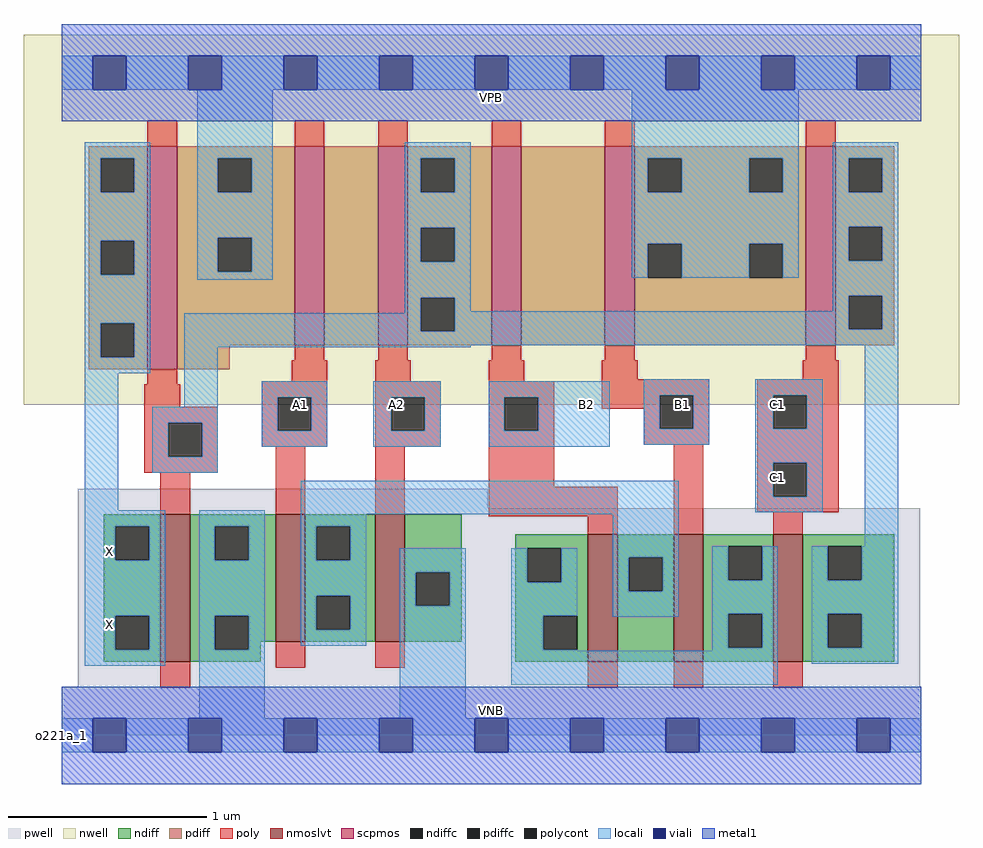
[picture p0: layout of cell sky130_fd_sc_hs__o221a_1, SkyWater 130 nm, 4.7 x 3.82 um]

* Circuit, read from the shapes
.subckt sky130_fd_sc_hs__o221a_1 A1 A2 B1 B2 C1 VGND VNB VPB VPWR X
XM1 VGND n1 X VNB sky130_fd_pr__nfet_01v8_lvt w=0.74 l=0.15
XM2 n2 A1 VGND VNB sky130_fd_pr__nfet_01v8_lvt w=0.64 l=0.15
XM3 VGND A2 n2 VNB sky130_fd_pr__nfet_01v8_lvt w=0.64 l=0.15
XM4 n2 B2 n3 VNB sky130_fd_pr__nfet_01v8_lvt w=0.64 l=0.15
XM5 n3 B1 n2 VNB sky130_fd_pr__nfet_01v8_lvt w=0.64 l=0.15
XM6 n1 C1 n3 VNB sky130_fd_pr__nfet_01v8_lvt w=0.64 l=0.15
XM7 VPWR n1 X VPB sky130_fd_pr__pfet_01v8 w=1.12 l=0.15
XM8 n4 A1 VPWR VPB sky130_fd_pr__pfet_01v8 w=1 l=0.15
XM9 n1 A2 n4 VPB sky130_fd_pr__pfet_01v8 w=1 l=0.15
XM10 n5 B2 n1 VPB sky130_fd_pr__pfet_01v8 w=1 l=0.15
XM11 VPWR B1 n5 VPB sky130_fd_pr__pfet_01v8 w=1 l=0.15
XM12 n1 C1 VPWR VPB sky130_fd_pr__pfet_01v8 w=1 l=0.15
.ends

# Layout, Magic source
magic
tech sky130A
magscale 1 2
<< nwell >>
rect -38 332 902 704
<< pwell >>
rect 16 228 428 248
rect 16 49 863 228
rect 0 0 864 49
<< scpmos >>
rect 86 368 116 592
rect 234 392 264 592
rect 318 392 348 592
rect 432 392 462 592
rect 546 392 576 592
rect 748 392 778 592
<< nmoslvt >>
rect 99 74 129 222
rect 215 94 245 222
rect 315 94 345 222
rect 529 74 559 202
rect 615 74 645 202
rect 715 74 745 202
<< ndiff >>
rect 42 210 99 222
rect 42 176 54 210
rect 88 176 99 210
rect 42 120 99 176
rect 42 86 54 120
rect 88 86 99 120
rect 42 74 99 86
rect 129 210 215 222
rect 129 176 154 210
rect 188 176 215 210
rect 129 120 215 176
rect 129 86 154 120
rect 188 94 215 120
rect 245 210 315 222
rect 245 176 256 210
rect 290 176 315 210
rect 245 140 315 176
rect 245 106 256 140
rect 290 106 315 140
rect 245 94 315 106
rect 345 164 402 222
rect 345 130 356 164
rect 390 130 402 164
rect 345 94 402 130
rect 456 188 529 202
rect 456 154 468 188
rect 502 154 529 188
rect 456 120 529 154
rect 188 86 200 94
rect 129 74 200 86
rect 456 86 484 120
rect 518 86 529 120
rect 456 74 529 86
rect 559 179 615 202
rect 559 145 570 179
rect 604 145 615 179
rect 559 74 615 145
rect 645 190 715 202
rect 645 156 670 190
rect 704 156 715 190
rect 645 122 715 156
rect 645 88 670 122
rect 704 88 715 122
rect 645 74 715 88
rect 745 190 837 202
rect 745 156 770 190
rect 804 156 837 190
rect 745 122 837 156
rect 745 88 770 122
rect 804 88 837 122
rect 745 74 837 88
<< pdiff >>
rect 27 580 86 592
rect 27 546 39 580
rect 73 546 86 580
rect 27 497 86 546
rect 27 463 39 497
rect 73 463 86 497
rect 27 414 86 463
rect 27 380 39 414
rect 73 380 86 414
rect 27 368 86 380
rect 116 580 234 592
rect 116 546 157 580
rect 191 546 234 580
rect 116 500 234 546
rect 116 466 157 500
rect 191 466 234 500
rect 116 392 234 466
rect 264 392 318 592
rect 348 580 432 592
rect 348 546 361 580
rect 395 546 432 580
rect 348 510 432 546
rect 348 476 361 510
rect 395 476 432 510
rect 348 440 432 476
rect 348 406 361 440
rect 395 406 432 440
rect 348 392 432 406
rect 462 392 546 592
rect 576 580 748 592
rect 576 546 589 580
rect 623 546 691 580
rect 725 546 748 580
rect 576 494 748 546
rect 576 460 589 494
rect 623 460 691 494
rect 725 460 748 494
rect 576 392 748 460
rect 778 580 837 592
rect 778 546 791 580
rect 825 546 837 580
rect 778 511 837 546
rect 778 477 791 511
rect 825 477 837 511
rect 778 442 837 477
rect 778 408 791 442
rect 825 408 837 442
rect 778 392 837 408
rect 116 368 169 392
<< ndiffc >>
rect 54 176 88 210
rect 54 86 88 120
rect 154 176 188 210
rect 154 86 188 120
rect 256 176 290 210
rect 256 106 290 140
rect 356 130 390 164
rect 468 154 502 188
rect 484 86 518 120
rect 570 145 604 179
rect 670 156 704 190
rect 670 88 704 122
rect 770 156 804 190
rect 770 88 804 122
<< pdiffc >>
rect 39 546 73 580
rect 39 463 73 497
rect 39 380 73 414
rect 157 546 191 580
rect 157 466 191 500
rect 361 546 395 580
rect 361 476 395 510
rect 361 406 395 440
rect 589 546 623 580
rect 691 546 725 580
rect 589 460 623 494
rect 691 460 725 494
rect 791 546 825 580
rect 791 477 825 511
rect 791 408 825 442
<< poly >>
rect 86 592 116 618
rect 234 592 264 618
rect 318 592 348 618
rect 432 592 462 618
rect 546 592 576 618
rect 748 592 778 618
rect 234 377 264 392
rect 318 377 348 392
rect 432 377 462 392
rect 546 377 576 392
rect 748 377 778 392
rect 86 353 116 368
rect 231 356 267 377
rect 83 330 119 353
rect 201 340 267 356
rect 83 314 157 330
rect 83 280 107 314
rect 141 280 157 314
rect 201 306 217 340
rect 251 306 267 340
rect 201 290 267 306
rect 315 356 351 377
rect 429 356 465 377
rect 543 358 579 377
rect 745 358 781 377
rect 315 340 381 356
rect 315 306 331 340
rect 365 306 381 340
rect 315 290 381 306
rect 429 340 495 356
rect 429 306 445 340
rect 479 306 495 340
rect 543 342 651 358
rect 543 328 601 342
rect 83 264 157 280
rect 99 222 129 264
rect 215 222 245 290
rect 315 222 345 290
rect 429 250 495 306
rect 585 308 601 328
rect 635 308 651 342
rect 585 292 651 308
rect 699 342 781 358
rect 699 308 715 342
rect 749 308 781 342
rect 429 220 559 250
rect 529 202 559 220
rect 615 202 645 292
rect 699 274 781 308
rect 699 240 715 274
rect 749 240 781 274
rect 699 224 781 240
rect 715 202 745 224
rect 99 48 129 74
rect 215 68 245 94
rect 315 68 345 94
rect 529 48 559 74
rect 615 48 645 74
rect 715 48 745 74
<< polycont >>
rect 107 280 141 314
rect 217 306 251 340
rect 331 306 365 340
rect 445 306 479 340
rect 601 308 635 342
rect 715 308 749 342
rect 715 240 749 274
<< locali >>
rect 0 649 31 683
rect 65 649 127 683
rect 161 649 223 683
rect 257 649 319 683
rect 353 649 415 683
rect 449 649 511 683
rect 545 649 607 683
rect 641 649 703 683
rect 737 649 799 683
rect 833 649 864 683
rect 23 580 89 596
rect 23 546 39 580
rect 73 546 89 580
rect 23 497 89 546
rect 23 463 39 497
rect 73 463 89 497
rect 23 414 89 463
rect 136 580 212 649
rect 136 546 157 580
rect 191 546 212 580
rect 136 500 212 546
rect 136 466 157 500
rect 191 466 212 500
rect 136 458 212 466
rect 345 580 411 596
rect 345 546 361 580
rect 395 546 411 580
rect 345 510 411 546
rect 345 476 361 510
rect 395 476 411 510
rect 345 440 411 476
rect 573 580 741 649
rect 573 546 589 580
rect 623 546 691 580
rect 725 546 741 580
rect 573 494 741 546
rect 573 460 589 494
rect 623 460 691 494
rect 725 460 741 494
rect 775 580 841 596
rect 775 546 791 580
rect 825 546 841 580
rect 775 511 841 546
rect 775 477 791 511
rect 825 477 841 511
rect 345 424 361 440
rect 23 380 39 414
rect 73 380 89 414
rect 23 364 89 380
rect 123 406 361 424
rect 395 426 411 440
rect 775 442 841 477
rect 775 426 791 442
rect 395 408 791 426
rect 825 408 841 442
rect 395 406 841 408
rect 123 392 841 406
rect 123 390 411 392
rect 23 226 57 364
rect 123 330 157 390
rect 91 314 157 330
rect 91 280 107 314
rect 141 280 157 314
rect 201 340 267 356
rect 201 306 217 340
rect 251 306 267 340
rect 201 290 267 306
rect 313 340 381 356
rect 313 306 331 340
rect 365 306 381 340
rect 313 290 381 306
rect 429 340 551 356
rect 429 306 445 340
rect 479 306 551 340
rect 429 290 551 306
rect 585 342 651 358
rect 585 308 601 342
rect 635 308 651 342
rect 585 292 651 308
rect 697 342 765 358
rect 697 308 715 342
rect 749 308 765 342
rect 91 264 157 280
rect 697 274 765 308
rect 23 210 104 226
rect 23 176 54 210
rect 88 176 104 210
rect 23 120 104 176
rect 23 86 54 120
rect 88 86 104 120
rect 23 70 104 86
rect 138 210 204 226
rect 138 176 154 210
rect 188 176 204 210
rect 138 120 204 176
rect 138 86 154 120
rect 188 86 204 120
rect 240 222 620 256
rect 697 240 715 274
rect 749 240 765 274
rect 697 224 765 240
rect 240 210 306 222
rect 240 176 256 210
rect 290 176 306 210
rect 240 140 306 176
rect 240 106 256 140
rect 290 106 306 140
rect 240 90 306 106
rect 340 164 406 188
rect 340 130 356 164
rect 390 130 406 164
rect 138 17 204 86
rect 340 17 406 130
rect 452 154 468 188
rect 502 154 518 188
rect 452 120 518 154
rect 452 86 484 120
rect 554 179 620 222
rect 807 190 841 392
rect 554 145 570 179
rect 604 145 620 179
rect 554 119 620 145
rect 654 156 670 190
rect 704 156 720 190
rect 654 122 720 156
rect 452 85 518 86
rect 654 88 670 122
rect 704 88 720 122
rect 654 85 720 88
rect 452 51 720 85
rect 754 156 770 190
rect 804 156 841 190
rect 754 122 841 156
rect 754 88 770 122
rect 804 88 841 122
rect 754 72 841 88
rect 0 -17 31 17
rect 65 -17 127 17
rect 161 -17 223 17
rect 257 -17 319 17
rect 353 -17 415 17
rect 449 -17 511 17
rect 545 -17 607 17
rect 641 -17 703 17
rect 737 -17 799 17
rect 833 -17 864 17
<< viali >>
rect 31 649 65 683
rect 127 649 161 683
rect 223 649 257 683
rect 319 649 353 683
rect 415 649 449 683
rect 511 649 545 683
rect 607 649 641 683
rect 703 649 737 683
rect 799 649 833 683
rect 31 -17 65 17
rect 127 -17 161 17
rect 223 -17 257 17
rect 319 -17 353 17
rect 415 -17 449 17
rect 511 -17 545 17
rect 607 -17 641 17
rect 703 -17 737 17
rect 799 -17 833 17
<< metal1 >>
rect 0 683 864 715
rect 0 649 31 683
rect 65 649 127 683
rect 161 649 223 683
rect 257 649 319 683
rect 353 649 415 683
rect 449 649 511 683
rect 545 649 607 683
rect 641 649 703 683
rect 737 649 799 683
rect 833 649 864 683
rect 0 617 864 649
rect 0 17 864 49
rect 0 -17 31 17
rect 65 -17 127 17
rect 161 -17 223 17
rect 257 -17 319 17
rect 353 -17 415 17
rect 449 -17 511 17
rect 545 -17 607 17
rect 641 -17 703 17
rect 737 -17 799 17
rect 833 -17 864 17
rect 0 -49 864 -17
<< labels >>
rlabel comment s 0 0 0 0 4 o221a_1
flabel pwell s 0 0 864 49 0 FreeSans 200 0 0 0 VNB
port 7 nsew ground bidirectional
flabel nwell s 0 617 864 666 0 FreeSans 200 0 0 0 VPB
port 8 nsew power bidirectional
flabel metal1 s 0 617 864 666 0 FreeSans 340 0 0 0 VPWR
port 9 nsew power bidirectional
flabel metal1 s 0 0 864 49 0 FreeSans 340 0 0 0 VGND
port 6 nsew ground bidirectional
flabel locali s 703 242 737 276 0 FreeSans 340 0 0 0 C1
port 5 nsew signal input
flabel locali s 703 316 737 350 0 FreeSans 340 0 0 0 C1
port 5 nsew signal input
flabel locali s 223 316 257 350 0 FreeSans 340 0 0 0 A1
port 1 nsew signal input
flabel locali s 319 316 353 350 0 FreeSans 340 0 0 0 A2
port 2 nsew signal input
flabel locali s 607 316 641 350 0 FreeSans 340 0 0 0 B1
port 3 nsew signal input
flabel locali s 511 316 545 350 0 FreeSans 340 0 0 0 B2
port 4 nsew signal input
flabel locali s 31 94 65 128 0 FreeSans 340 0 0 0 X
port 10 nsew signal output
flabel locali s 31 168 65 202 0 FreeSans 340 0 0 0 X
port 10 nsew signal output
<< properties >>
string LEFsite unit
string LEFclass CORE
string FIXED_BBOX 0 0 864 666
string GDS_FILE $PDKPATH/libs.ref/sky130_fd_sc_hs/gds/sky130_fd_sc_hs.gds
string LEFsymmetry X Y
string GDS_END 2872556
string GDS_START 2864606
<< end >>
